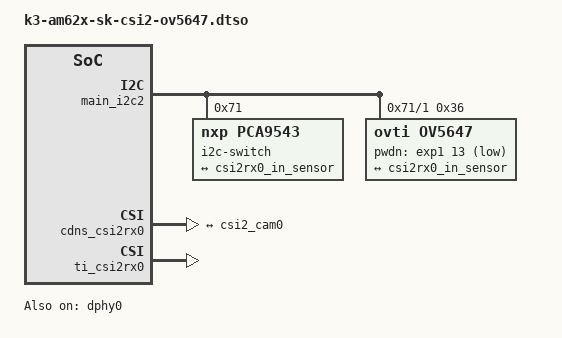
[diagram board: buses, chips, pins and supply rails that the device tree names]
// SPDX-License-Identifier: GPL-2.0-only OR MIT
/*
 * RPi v1.3 OV5647 Camera Module
 * Copyright (C) 2024 Texas Instruments Incorporated - https://www.ti.com/
 */

/dts-v1/;
/plugin/;

#include <dt-bindings/gpio/gpio.h>

&{/} {
	clk_ov5647_fixed: ov5647-xclk {
		compatible = "fixed-clock";
		#clock-cells = <0>;
		clock-frequency = <25000000>;
	};
};

&main_i2c2 {
	#address-cells = <1>;
	#size-cells = <0>;
	status = "okay";

	i2c-switch@71 {
		compatible = "nxp,pca9543";
		#address-cells = <1>;
		#size-cells = <0>;
		reg = <0x71>;

		/* CAM port */
		i2c@1 {
			#address-cells = <1>;
			#size-cells = <0>;
			reg = <1>;

			ov5647: camera@36 {
				compatible = "ovti,ov5647";
				reg = <0x36>;

				clocks = <&clk_ov5647_fixed>;
				clock-names = "xclk";
				pwdn-gpios = <&exp1 13 GPIO_ACTIVE_LOW>;

				port {
					csi2_cam0: endpoint {
						remote-endpoint = <&csi2rx0_in_sensor>;
						link-frequencies = /bits/ 64 <297000000>;
						clock-lanes = <0>;
						data-lanes = <1 2>;
					};
				};
			};
		};
	};
};

&cdns_csi2rx0 {
	ports {
		#address-cells = <1>;
		#size-cells = <0>;

		csi0_port0: port@0 {
			reg = <0>;
			status = "okay";

			csi2rx0_in_sensor: endpoint {
				remote-endpoint = <&csi2_cam0>;
				bus-type = <4>; /* CSI2 DPHY. */
				clock-lanes = <0>;
				data-lanes = <1 2>;
			};
		};
	};
};

&ti_csi2rx0 {
	status = "okay";
};

&dphy0 {
	status = "okay";
};
